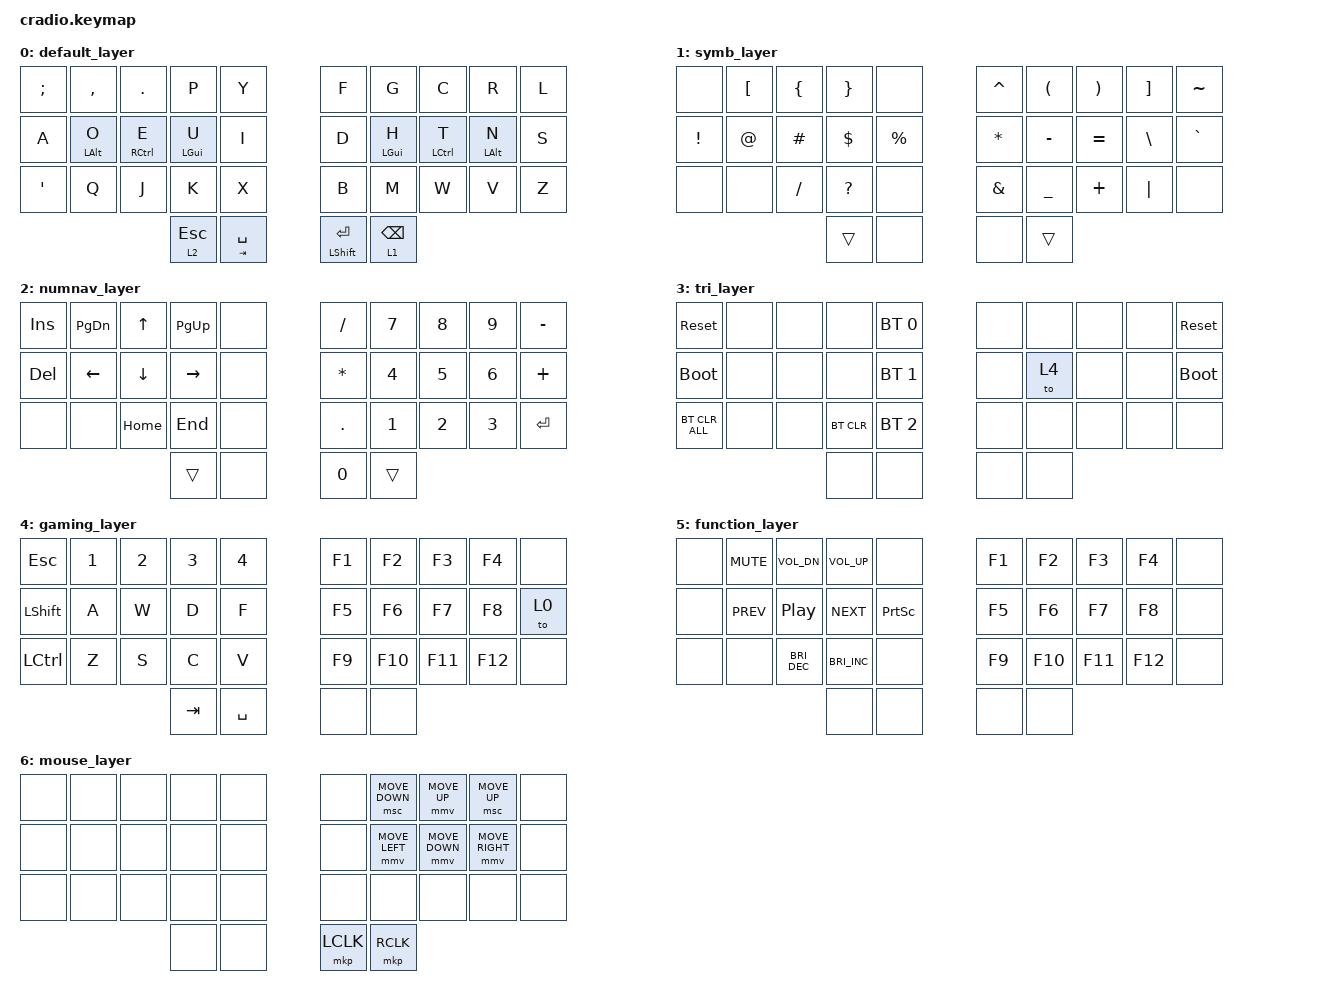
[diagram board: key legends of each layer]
// Copyright (c) 2022 The ZMK Contributors
// SPDX-License-Identifier: MIT

#include <behaviors.dtsi>
#include <dt-bindings/zmk/bt.h>
#include <dt-bindings/zmk/keys.h>
#include <dt-bindings/zmk/mouse.h>

&lt { quick-tap-ms = <175>; };

/ {
    behaviors {
        ht: hold_tap {
            compatible = "zmk,behavior-hold-tap";
            #binding-cells = <2>;
            flavor = "tap-preferred";
            tapping-term-ms = <220>;
            quick-tap-ms = <150>;
            require-prior-idle-ms = <100>;
            bindings = <&kp>, <&kp>;
        };

        hmr: hmr {
            compatible = "zmk,behavior-hold-tap";
            label = "HMR";
            bindings = <&kp>, <&kp>;

            #binding-cells = <2>;
            flavor = "balanced";
            tapping-term-ms = <300>;
            quick-tap-ms = <175>;
            require-prior-idle-ms = <150>;
            hold-trigger-on-release;
            hold-trigger-key-positions = <0 1 2 3 4 10 11 12 13 14 20 21 22 23 24 30 31>;
        };

        hml: hml {
            compatible = "zmk,behavior-hold-tap";
            label = "HML";
            bindings = <&kp>, <&kp>;

            #binding-cells = <2>;
            flavor = "balanced";
            tapping-term-ms = <300>;
            quick-tap-ms = <175>;
            require-prior-idle-ms = <150>;
            hold-trigger-on-release;
            hold-trigger-key-positions = <5 5 6 7 8 9 15 16 17 18 19 25 26 27 28 29 32 33>;
        };
    };

    conditional_layers {
        compatible = "zmk,conditional-layers";

        tri_layer {
            if-layers = <2 1>;
            then-layer = <3>;
        };
    };

    combos {
        compatible = "zmk,combos";

        mouse_middle_click {
            bindings = <&mkp MCLK>;
            key-positions = <32 33>;
            layers = <6>;
        };

        function_layer {
            bindings = <&mo 5>;
            key-positions = <32 33>;
            layers = <0>;
        };

        mouse_layer {
            bindings = <&mo 6>;
            key-positions = <30 31>;
            layers = <0>;
        };

        layout_switch {
            bindings = <&kp RIGHT_ALT>;
            key-positions = <16 17 18>;
        };
    };

    keymap {
        compatible = "zmk,keymap";

        default_layer {
            bindings = <
&kp SEMI  &kp COMMA    &kp DOT       &kp P            &kp Y                &kp F              &kp G            &kp C         &kp R            &kp L
&kp A     &hml LALT O  &hml RCTRL E  &hml LEFT_GUI U  &kp I                &kp D              &hmr LEFT_GUI H  &hmr LCTRL T  &hmr LEFT_ALT N  &kp S
&kp SQT   &kp Q        &kp J         &kp K            &kp X                &kp B              &kp M            &kp W         &kp V            &kp Z
                                     &lt 2 ESCAPE     &ht TAB SPACE        &mt LSHIFT RETURN  &lt 1 BSPC
            >;
        };

        symb_layer {
            bindings = <
&none     &kp LBKT  &kp LBRC   &kp RBRC      &none            &kp CARET  &kp LPAR   &kp RPAR   &kp RBKT  &kp TILDE
&kp EXCL  &kp AT    &kp HASH   &kp DLLR      &kp PRCNT        &kp ASTRK  &kp MINUS  &kp EQUAL  &kp BSLH  &kp GRAVE
&none     &none     &kp SLASH  &kp QUESTION  &none            &kp AMPS   &kp UNDER  &kp PLUS   &kp PIPE  &none
                               &trans        &none            &none      &trans
            >;
        };

        numnav_layer {
            bindings = <
&kp INS  &kp PG_DN  &kp UP    &kp PG_UP  &none        &kp FSLH  &kp N7  &kp N8  &kp N9  &kp MINUS
&kp DEL  &kp LEFT   &kp DOWN  &kp RIGHT  &none        &kp STAR  &kp N4  &kp N5  &kp N6  &kp PLUS
&none    &none      &kp HOME  &kp END    &none        &kp DOT   &kp N1  &kp N2  &kp N3  &kp RET
                              &trans     &none        &kp N0    &trans
            >;
        };

        tri_layer {
            bindings = <
&sys_reset      &none  &none  &none       &bt BT_SEL 0        &none  &none  &none  &none  &sys_reset
&bootloader     &none  &none  &none       &bt BT_SEL 1        &none  &to 4  &none  &none  &bootloader
&bt BT_CLR_ALL  &none  &none  &bt BT_CLR  &bt BT_SEL 2        &none  &none  &none  &none  &none
                              &none       &none               &none  &none
            >;
        };

        gaming_layer {
            bindings = <
&kp ESC    &kp N1  &kp N2  &kp N3   &kp N4           &kp F1  &kp F2   &kp F3   &kp F4   &none
&kp LSHFT  &kp A   &kp W   &kp D    &kp F            &kp F5  &kp F6   &kp F7   &kp F8   &to 0
&kp LCTRL  &kp Z   &kp S   &kp C    &kp V            &kp F9  &kp F10  &kp F11  &kp F12  &none
                           &kp TAB  &kp SPACE        &none   &none
            >;
        };

        function_layer {
            bindings = <
&none  &kp C_MUTE  &kp C_VOL_DN      &kp C_VOL_UP          &none                  &kp F1  &kp F2   &kp F3   &kp F4   &none
&none  &kp C_PREV  &kp C_PLAY_PAUSE  &kp C_NEXT            &kp PRINTSCREEN        &kp F5  &kp F6   &kp F7   &kp F8   &none
&none  &none       &kp C_BRI_DEC     &kp C_BRIGHTNESS_INC  &none                  &kp F9  &kp F10  &kp F11  &kp F12  &none
                                     &none                 &none                  &none   &none
            >;
        };

        mouse_layer {
            bindings = <
&none  &none  &none  &none  &none        &none      &msc MOVE_DOWN  &mmv MOVE_UP    &msc MOVE_UP     &none
&none  &none  &none  &none  &none        &none      &mmv MOVE_LEFT  &mmv MOVE_DOWN  &mmv MOVE_RIGHT  &none
&none  &none  &none  &none  &none        &none      &none           &none           &none            &none
                     &none  &none        &mkp LCLK  &mkp RCLK
            >;
        };
    };
};
